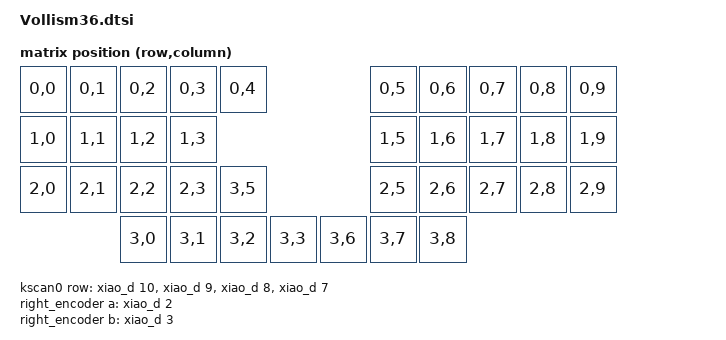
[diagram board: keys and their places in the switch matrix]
#include <dt-bindings/zmk/matrix_transform.h>

/ {
    chosen {
        zmk,kscan = &kscan0;
        zmk,matrix_transform = &default_transform;
    };

    default_transform: keymap_transform_0 {
        compatible = "zmk,matrix-transform";
        columns = <10>;
        rows = <4>;               
        map = <
            RC(0,0) RC(0,1) RC(0,2) RC(0,3) RC(0,4)                     RC(0,5) RC(0,6) RC(0,7) RC(0,8) RC(0,9)
            RC(1,0) RC(1,1) RC(1,2) RC(1,3)                             RC(1,5) RC(1,6) RC(1,7) RC(1,8) RC(1,9)
            RC(2,0) RC(2,1) RC(2,2) RC(2,3)                     RC(3,5) RC(2,5) RC(2,6) RC(2,7) RC(2,8) RC(2,9)
                            RC(3,0) RC(3,1) RC(3,2) RC(3,3)     RC(3,6) RC(3,7) RC(3,8)
        >;
    };

    kscan0: kscan0 {
        compatible = "zmk,kscan-gpio-matrix";
        diode-direction = "col2row";
        wakeup-source;
            row-gpios
                = <&xiao_d 10 (GPIO_ACTIVE_HIGH | GPIO_PULL_DOWN)> 
                , <&xiao_d 9 (GPIO_ACTIVE_HIGH | GPIO_PULL_DOWN)> 
                , <&xiao_d 8 (GPIO_ACTIVE_HIGH | GPIO_PULL_DOWN)> 
                , <&xiao_d 7 (GPIO_ACTIVE_HIGH | GPIO_PULL_DOWN)> 			
                ;
    };

    split_inputs {
	        #address-cells = <1>;
	        #size-cells = <0>;
	
	        trackball_split: trackball_split@0 {
	            compatible = "zmk,input-split";
	            reg = <0>;
	        };
	};
	
	trackball_listener: trackball_listener {
		compatible = "zmk,input-listener";
		status = "disabled";
		device = <&trackball_split>;
	};

    analog_input_listener: analog_input_listener {
        compatible = "zmk,input-listener";
        status = "disabled";
    };

    left_encoder: encoder_left {
        status = "disabled";
    };

    right_encoder: encoder_right {
        compatible = "alps,ec11";
        a-gpios = <&xiao_d 2 (GPIO_ACTIVE_HIGH | GPIO_PULL_UP)>;
        b-gpios = <&xiao_d 3 (GPIO_ACTIVE_HIGH | GPIO_PULL_UP)>;
        steps = <48>;
        status = "disabled";
    };

    sensors: sensors {
        compatible = "zmk,keymap-sensors";
        sensors = <&left_encoder &right_encoder>;
        triggers-per-rotation = <24>;
    };
};
